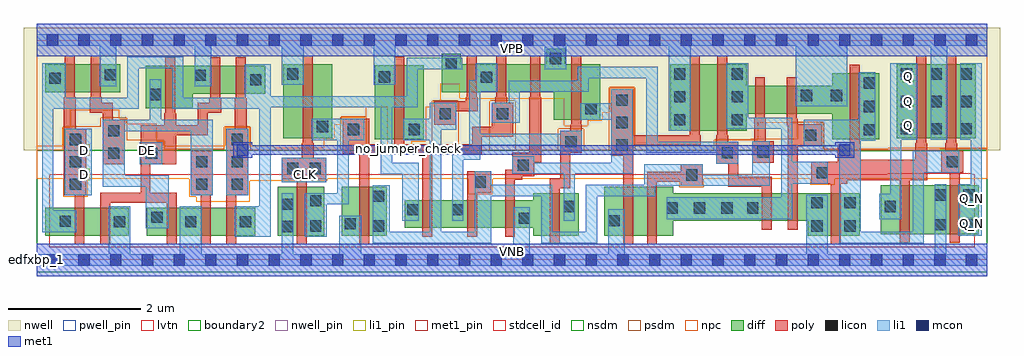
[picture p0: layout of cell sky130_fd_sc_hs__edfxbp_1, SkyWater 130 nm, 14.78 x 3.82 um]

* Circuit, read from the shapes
.subckt sky130_fd_sc_hs__edfxbp_1 CLK D DE Q Q_N VGND VNB VPB VPWR
XM1 n1 D n2 VNB sky130_fd_pr__nfet_01v8_lvt w=0.42 l=0.15
XM2 VGND DE n1 VNB sky130_fd_pr__nfet_01v8_lvt w=0.42 l=0.15
XM3 VGND DE n3 VNB sky130_fd_pr__nfet_01v8_lvt w=0.42 l=0.15
XM4 n4 n3 VGND VNB sky130_fd_pr__nfet_01v8_lvt w=0.42 l=0.15
XM5 n2 n5 n4 VNB sky130_fd_pr__nfet_01v8_lvt w=0.42 l=0.15
XM6 n6 CLK VGND VNB sky130_fd_pr__nfet_01v8_lvt w=0.74 l=0.15
XM7 n7 n6 VGND VNB sky130_fd_pr__nfet_01v8_lvt w=0.74 l=0.15
XM8 n8 n6 n2 VNB sky130_fd_pr__nfet_01v8_lvt w=0.42 l=0.15
XM9 n9 n7 n8 VNB sky130_fd_pr__nfet_01v8_lvt w=0.42 l=0.15
XM10 VGND n10 n9 VNB sky130_fd_pr__nfet_01v8_lvt w=0.42 l=0.15
XM11 n10 n8 VGND VNB sky130_fd_pr__nfet_01v8_lvt w=0.64 l=0.15
XM12 n11 n10 VGND VNB sky130_fd_pr__nfet_01v8_lvt w=0.74 l=0.15
XM13 n12 n7 n11 VNB sky130_fd_pr__nfet_01v8_lvt w=0.74 l=0.15
XM14 n13 n6 n12 VNB sky130_fd_pr__nfet_01v8_lvt w=0.42 l=0.15
XM15 VGND n5 n13 VNB sky130_fd_pr__nfet_01v8_lvt w=0.42 l=0.15
XM16 n5 n12 VGND VNB sky130_fd_pr__nfet_01v8_lvt w=0.64 l=0.15
XM17 VGND n12 Q VNB sky130_fd_pr__nfet_01v8_lvt w=0.74 l=0.15
XM18 Q_N n5 VGND VNB sky130_fd_pr__nfet_01v8_lvt w=0.74 l=0.15
XM19 n14 D n2 VPB sky130_fd_pr__pfet_01v8 w=0.42 l=0.15
XM20 VPWR n3 n14 VPB sky130_fd_pr__pfet_01v8 w=0.42 l=0.15
XM21 VPWR DE n3 VPB sky130_fd_pr__pfet_01v8 w=0.64 l=0.15
XM22 n15 DE VPWR VPB sky130_fd_pr__pfet_01v8 w=0.42 l=0.15
XM23 n2 n5 n15 VPB sky130_fd_pr__pfet_01v8 w=0.42 l=0.15
XM24 n6 CLK VPWR VPB sky130_fd_pr__pfet_01v8 w=1.12 l=0.15
XM25 n7 n6 VPWR VPB sky130_fd_pr__pfet_01v8 w=1.12 l=0.15
XM26 n8 n7 n2 VPB sky130_fd_pr__pfet_01v8 w=0.42 l=0.15
XM27 n16 n6 n8 VPB sky130_fd_pr__pfet_01v8 w=0.42 l=0.15
XM28 VPWR n10 n16 VPB sky130_fd_pr__pfet_01v8 w=0.42 l=0.15
XM29 n10 n8 VPWR VPB sky130_fd_pr__pfet_01v8 w=0.84 l=0.15
XM30 n17 n10 VPWR VPB sky130_fd_pr__pfet_01v8 w=1 l=0.15
XM31 n12 n6 n17 VPB sky130_fd_pr__pfet_01v8 w=1 l=0.15
XM32 n18 n7 n12 VPB sky130_fd_pr__pfet_01v8 w=0.42 l=0.15
XM33 VPWR n5 n18 VPB sky130_fd_pr__pfet_01v8 w=0.42 l=0.15
XM34 n5 n12 VPWR VPB sky130_fd_pr__pfet_01v8 w=1 l=0.15
XM35 VPWR n12 Q VPB sky130_fd_pr__pfet_01v8 w=1.12 l=0.15
XM36 Q_N n5 VPWR VPB sky130_fd_pr__pfet_01v8 w=1.12 l=0.15
.ends

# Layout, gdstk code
import gdstk
lib = gdstk.Library(unit=1e-6, precision=1e-09)
def R(c, l, rs):  # rectangles x0, y0, x1, y1
    for r in rs: c.add(gdstk.rectangle(r[:2], r[2:], *l))
def A(c, l, x, y, w, h, nx, ny, dx, dy):  # array of equal rectangles
    R(c, l, [(x+i*dx, y+j*dy, x+i*dx+w, y+j*dy+h) for i in range(nx) for j in range(ny)])
def P(c, l, *ps):  # polygons
    for p in ps: c.add(gdstk.Polygon(p, *l))
nwell_pin = (64, 16)
nwell = (64, 20)
diff = (65, 20)
poly = (66, 20)
licon = (66, 44)
li1_pin = (67, 16)
li1 = (67, 20)
mcon = (67, 44)
met1_pin = (68, 16)
met1 = (68, 20)
stdcell_id = (81, 4)
nsdm = (93, 44)
psdm = (94, 20)
npc = (95, 20)
pwell_pin = (122, 16)
lvtn = (125, 44)
boundary2 = (236, 0)

sky130_fd_sc_hs__edfxbp_ = lib.new_cell('sky130_fd_sc_hs__edfxbp_1')
R(sky130_fd_sc_hs__edfxbp_, nwell_pin, [(0,3.085,14.4,3.33)])
P(sky130_fd_sc_hs__edfxbp_, nwell, [(14.59,3.52),(-0.19,3.52),(-0.19,1.66),(4.945,1.66),(4.945,1.65),(6.045,1.65),(6.045,1.66),(11.87,1.66),(11.87,1.645),(12.94,1.645),(12.94,1.66),(14.59,1.66)])
R(sky130_fd_sc_hs__edfxbp_, diff, [(0.135,0.37,1.4,0.79), (1.67,0.37,3.31,0.79), (3.655,0.37,4.355,1.11), (4.625,0.37,5.305,1.11), (12.785,0.39,14.265,1.13), (5.125,1.83,5.865,2.95), (3.735,1.84,4.475,2.96), (13.03,1.84,14.22,2.96), (0.135,2.54,1.265,2.96)])
P(sky130_fd_sc_hs__edfxbp_, diff, [(3.465,2.94),(1.655,2.94),(1.655,2.3),(2.365,2.3),(2.365,2.52),(3.465,2.52)],
  [(8.21,1.01),(7.525,1.01),(7.525,0.905),(5.575,0.905),(5.575,0.485),(7.525,0.485),(7.525,0.37),(8.21,0.37)],
  [(8.54,2.96),(8.005,2.96),(8.005,3.195),(7.715,3.195),(7.715,2.96),(6.425,2.96),(6.425,3.12),(6.135,3.12),(6.135,2.54),(7.83,2.54),(7.83,2.12),(8.54,2.12)],
  [(12.465,1.01),(9.645,1.01),(9.645,1.11),(8.6,1.11),(8.6,0.37),(9.645,0.37),(9.645,0.59),(11.675,0.59),(11.675,0.37),(12.465,0.37)],
  [(12.76,2.825),(12.05,2.825),(12.05,2.635),(10.755,2.635),(10.755,2.96),(9.595,2.96),(9.595,1.96),(10.755,1.96),(10.755,2.215),(12.05,2.215),(12.05,1.825),(12.76,1.825)])
P(sky130_fd_sc_hs__edfxbp_, poly, [(14.03,1.65),(13.94,1.65),(13.94,1.765),(13.925,1.765),(13.925,3.09),(13.775,3.09),(13.775,1.765),(13.76,1.765),(13.76,1.65),(13.7,1.65),(13.7,1.32),(13.83,1.32),(13.83,0.26),(13.98,0.26),(13.98,1.32),(14.03,1.32)],
  [(13.49,1.765),(13.475,1.765),(13.475,3.09),(13.325,3.09),(13.325,1.765),(13.31,1.765),(13.31,1.515),(12.48,1.515),(12.48,1.75),(12.465,1.75),(12.465,2.955),(12.315,2.955),(12.315,1.75),(12.3,1.75),(12.3,1.745),(12.13,1.745),(12.13,1.485),(11.735,1.485),(11.735,1.155),(12.03,1.155),(12.03,0.24),(12.18,0.24),(12.18,1.155),(12.28,1.155),(12.28,1.205),(13.07,1.205),(13.07,0.26),(13.22,0.26),(13.22,1.205),(13.49,1.205)],
  [(11.89,2.055),(11.525,2.055),(11.525,2.14),(11.51,2.14),(11.51,2.765),(11.36,2.765),(11.36,2.04),(11.375,2.04),(11.375,0.46),(11.525,0.46),(11.525,1.725),(11.89,1.725)],
  [(11.165,1.8),(11.045,1.8),(11.045,2.14),(11.03,2.14),(11.03,2.765),(10.88,2.765),(10.88,2.14),(10.865,2.14),(10.865,1.8),(10.835,1.8),(10.835,1.47),(11.165,1.47)],
  [(11.135,1.26),(10.625,1.26),(10.625,1.79),(10.475,1.79),(10.475,1.885),(10.46,1.885),(10.46,3.09),(10.31,3.09),(10.31,1.885),(10.295,1.885),(10.295,1.46),(10.475,1.46),(10.475,1.11),(10.985,1.11),(10.985,0.46),(11.135,0.46)],
  [(10.085,1.45),(9.755,1.45),(9.755,1.335),(9.245,1.335),(9.245,0.24),(9.395,0.24),(9.395,1.185),(9.755,1.185),(9.755,1.12),(10.085,1.12)],
  [(10.055,1.885),(10.04,1.885),(10.04,3.09),(9.89,3.09),(9.89,1.885),(9.035,1.885),(9.035,2.585),(8.7,2.585),(8.7,1.575),(8.885,1.575),(8.885,0.24),(9.035,0.24),(9.035,1.735),(10.055,1.735)],
  [(8.26,2.045),(8.245,2.045),(8.245,3.09),(8.095,3.09),(8.095,2.045),(8.08,2.045),(8.08,1.955),(7.93,1.955),(7.93,1.235),(7.775,1.235),(7.775,0.24),(7.925,0.24),(7.925,1.085),(8.08,1.085),(8.08,1.625),(8.26,1.625)],
  [(7.64,2.465),(7.625,2.465),(7.625,3.09),(7.475,3.09),(7.475,2.465),(7.46,2.465),(7.46,1.625),(7.205,1.625),(7.205,1.365),(7.095,1.365),(7.095,0.355),(7.245,0.355),(7.245,1.215),(7.355,1.215),(7.355,1.27),(7.535,1.27),(7.535,1.475),(7.64,1.475)],
  [(7.22,2.38),(7.13,2.38),(7.13,2.465),(7.115,2.465),(7.115,3.09),(6.965,3.09),(6.965,2.465),(6.95,2.465),(6.95,2.38),(6.89,2.38),(6.89,2.015),(6.595,2.015),(6.595,1.755),(5.57,1.755),(5.57,3.08),(5.42,3.08),(5.42,1.755),(5.04,1.755),(5.04,2.14),(4.635,2.14),(4.635,1.605),(4.89,1.605),(4.89,0.24),(5.04,0.24),(5.04,1.605),(5.84,1.605),(5.84,0.355),(5.99,0.355),(5.99,1.605),(6.745,1.605),(6.745,1.865),(7.22,1.865)],
  [(6.885,1.345),(6.52,1.345),(6.52,0.355),(6.67,0.355),(6.67,1.015),(6.885,1.015)],
  [(6.68,2.465),(6.665,2.465),(6.665,3.09),(6.515,3.09),(6.515,2.465),(6.5,2.465),(6.5,2.405),(6.025,2.405),(6.025,2.05),(6.355,2.05),(6.355,2.255),(6.68,2.255)],
  [(4.385,1.55),(4.195,1.55),(4.195,1.765),(4.18,1.765),(4.18,3.09),(4.03,3.09),(4.03,1.765),(4.015,1.765),(4.015,1.55),(3.715,1.55),(3.715,1.22),(3.94,1.22),(3.94,0.24),(4.09,0.24),(4.09,1.22),(4.385,1.22)],
  [(3.205,1.99),(3.185,1.99),(3.185,2.445),(3.17,2.445),(3.17,3.07),(3.02,3.07),(3.02,2.445),(3.005,2.445),(3.005,1.99),(2.875,1.99),(2.875,0.24),(3.025,0.24),(3.025,0.98),(3.205,0.98)],
  [(2.795,2.445),(2.78,2.445),(2.78,3.07),(2.63,3.07),(2.63,2.445),(2.615,2.445),(2.615,2.38),(2.44,2.38),(2.44,2.04),(2.115,2.04),(2.115,2.225),(2.1,2.225),(2.1,3.07),(1.95,3.07),(1.95,2.225),(1.935,2.225),(1.935,2.04),(1.575,2.04),(1.575,1.015),(0.965,1.015),(0.965,0.24),(1.115,0.24),(1.115,0.865),(1.975,0.865),(1.975,0.24),(2.125,0.24),(2.125,1.015),(1.725,1.015),(1.725,1.45),(2.115,1.45),(2.115,1.89),(2.59,1.89),(2.59,2.23),(2.795,2.23)],
  [(2.665,1.65),(2.335,1.65),(2.335,0.98),(2.485,0.98),(2.485,0.24),(2.635,0.24),(2.635,0.98),(2.665,0.98)],
  [(1.335,2.12),(1.155,2.12),(1.155,2.38),(0.985,2.38),(0.985,2.465),(0.97,2.465),(0.97,3.09),(0.82,3.09),(0.82,2.465),(0.805,2.465),(0.805,2.23),(1.005,2.23),(1.005,1.45),(1.335,1.45)],
  [(0.755,1.99),(0.595,1.99),(0.595,2.465),(0.58,2.465),(0.58,3.09),(0.43,3.09),(0.43,2.465),(0.415,2.465),(0.415,0.98),(0.575,0.98),(0.575,0.24),(0.725,0.24),(0.725,0.98),(0.755,0.98)])
A(sky130_fd_sc_hs__edfxbp_, licon, 9.54, 0.7, 0.17, 0.17, 3, 1, 0.415, 0)
A(sky130_fd_sc_hs__edfxbp_, licon, 0.505, 1.06, 0.17, 0.17, 1, 3, 0, 0.34)
A(sky130_fd_sc_hs__edfxbp_, licon, 2.955, 1.06, 0.17, 0.17, 1, 3, 0, 0.34)
A(sky130_fd_sc_hs__edfxbp_, licon, 8.78, 1.655, 0.17, 0.17, 1, 3, 0, 0.34)
A(sky130_fd_sc_hs__edfxbp_, licon, 12.53, 1.885, 0.17, 0.17, 1, 3, 0, 0.355)
A(sky130_fd_sc_hs__edfxbp_, licon, 13.09, 1.9, 0.17, 0.17, 3, 3, 0.45, 0.415)
A(sky130_fd_sc_hs__edfxbp_, licon, 9.655, 2.04, 0.17, 0.17, 1, 3, 0, 0.345)
A(sky130_fd_sc_hs__edfxbp_, licon, 10.525, 2.04, 0.17, 0.17, 1, 3, 0, 0.345)
R(sky130_fd_sc_hs__edfxbp_, licon, [(3.715,0.42,3.885,0.59), (4.145,0.43,4.315,0.6), (5.095,0.43,5.265,0.6), (11.735,0.43,11.905,0.6), (12.235,0.43,12.405,0.6), (13.605,0.45,13.775,0.62), (14.035,0.45,14.205,0.62), (4.665,0.465,4.835,0.635), (1.17,0.495,1.34,0.665), (2.25,0.495,2.42,0.665), (3.08,0.495,3.25,0.665), (0.35,0.5,0.52,0.67), (8.66,0.51,8.83,0.68), (7.3,0.545,7.47,0.715), (1.74,0.56,1.91,0.73), (5.615,0.675,5.785,0.845), (6.295,0.675,6.465,0.845), (10.76,0.7,10.93,0.87), (7.98,0.725,8.15,0.895), (12.845,0.725,13.015,0.895), (3.715,0.76,3.885,0.93), (11.735,0.78,11.905,0.95), (12.235,0.78,12.405,0.95), (4.145,0.81,4.315,0.98), (5.095,0.88,5.265,1.05), (13.605,0.9,13.775,1.07), (14.035,0.9,14.205,1.07), (2.415,1.06,2.585,1.23), (6.635,1.095,6.805,1.265), (9.835,1.2,10.005,1.37), (11.815,1.235,11.985,1.405), (3.795,1.3,3.965,1.47), (4.135,1.3,4.305,1.47), (7.285,1.35,7.455,1.52), (2.415,1.4,2.585,1.57), (13.78,1.4,13.95,1.57), (1.085,1.53,1.255,1.7), (1.655,1.53,1.825,1.7), (10.375,1.54,10.545,1.71), (10.915,1.55,11.085,1.72), (8.01,1.705,8.18,1.875), (11.64,1.805,11.81,1.975), (1.085,1.87,1.255,2.04), (4.715,1.89,4.885,2.06), (5.635,1.89,5.805,2.06), (4.245,1.935,4.415,2.105), (6.105,2.13,6.275,2.3), (6.97,2.13,7.14,2.3), (8.31,2.205,8.48,2.375), (11.575,2.405,11.745,2.575), (12.03,2.405,12.2,2.575), (1.715,2.42,1.885,2.59), (3.235,2.645,3.405,2.815), (0.195,2.665,0.365,2.835), (6.73,2.68,6.9,2.85), (5.185,2.685,5.355,2.855), (2.395,2.71,2.565,2.88), (1.035,2.72,1.205,2.89), (3.795,2.73,3.965,2.9), (6.195,2.89,6.365,3.06), (7.775,2.965,7.945,3.135)])
A(sky130_fd_sc_hs__edfxbp_, li1_pin, 13.115, 1.95, 0.17, 0.17, 1, 3, 0, 0.37)
R(sky130_fd_sc_hs__edfxbp_, li1_pin, [(14.075,0.47,14.245,0.64), (14.075,0.84,14.245,1.01), (0.635,1.21,0.805,1.38), (3.995,1.21,4.165,1.38), (0.635,1.58,0.805,1.75), (1.595,1.58,1.765,1.75)])
R(sky130_fd_sc_hs__edfxbp_, li1, [(0.425,0.98,0.835,1.99), (2.875,0.98,3.205,1.99), (3.715,1.18,4.385,1.55), (1.565,1.45,1.905,1.78)])
P(sky130_fd_sc_hs__edfxbp_, li1, [(0,3.245),(0,3.415),(14.4,3.415),(14.4,3.245),(13.79,3.245),(13.79,1.82),(13.54,1.82),(13.54,3.245),(12.28,3.245),(12.28,2.325),(11.495,2.325),(11.495,3.245),(9.905,3.245),(9.905,1.96),(9.575,1.96),(9.575,3.245),(8.025,3.245),(8.025,2.885),(7.695,2.885),(7.695,3.245),(5.435,3.245),(5.435,2.65),(5.105,2.65),(5.105,3.245),(4.045,3.245),(4.045,2.65),(3.715,2.65),(3.715,3.245),(2.645,3.245),(2.645,2.63),(2.395,2.63),(2.395,3.245),(1.205,3.245),(1.205,2.63),(0.955,2.63),(0.955,3.245)],
  [(0,-0.085),(0,0.085),(1.09,0.085),(1.09,0.81),(1.42,0.81),(1.42,0.085),(2.17,0.085),(2.17,0.81),(2.5,0.81),(2.5,0.085),(3.715,0.085),(3.715,1.01),(3.885,1.01),(3.885,0.085),(4.585,0.085),(4.585,0.67),(4.915,0.67),(4.915,0.085),(7.22,0.085),(7.22,0.795),(7.47,0.795),(7.47,0.085),(8.66,0.085),(8.66,0.77),(8.91,0.77),(8.91,0.085),(11.655,0.085),(11.655,0.985),(11.985,0.985),(11.985,0.085),(13.605,0.085),(13.605,1.15),(13.775,1.15),(13.775,0.085),(14.4,0.085),(14.4,-0.085)],
  [(12.925,2.98),(13.34,2.98),(13.34,1.82),(13.095,1.82),(13.095,0.62),(12.765,0.62),(12.765,1),(12.925,1)],
  [(13.955,0.37),(13.955,1.15),(14.145,1.15),(14.145,1.82),(13.99,1.82),(13.99,2.98),(14.315,2.98),(14.315,0.37)],
  [(12.155,1.725),(11.615,1.725),(11.615,2.12),(12.45,2.12),(12.45,2.845),(12.7,2.845),(12.7,1.805),(12.485,1.805),(12.485,0.425),(13.265,0.425),(13.265,1.65),(13.975,1.65),(13.975,1.32),(13.435,1.32),(13.435,0.255),(12.155,0.255)],
  [(6.55,1.685),(6.55,2.72),(6.65,2.72),(6.65,2.98),(6.98,2.98),(6.98,2.55),(6.72,2.55),(6.72,1.91),(7.93,1.91),(7.93,1.955),(8.26,1.955),(8.26,1.645),(7.93,1.645),(7.93,1.74),(6.72,1.74),(6.72,1.515),(6.465,1.515),(6.465,0.595),(6.295,0.595),(6.295,1.685)],
  [(4.555,1.01),(4.555,1.81),(4.165,1.81),(4.165,2.14),(4.965,2.14),(4.965,1.81),(4.725,1.81),(4.725,0.84),(4.395,0.84),(4.395,0.35),(4.065,0.35),(4.065,1.01)],
  [(3.375,0.81),(3.375,2.29),(2.055,2.29),(2.055,2.905),(1.545,2.905),(1.545,2.29),(0.255,2.29),(0.255,0.75),(0.6,0.75),(0.6,0.42),(0.085,0.42),(0.085,2.98),(0.445,2.98),(0.445,2.46),(1.375,2.46),(1.375,3.075),(2.225,3.075),(2.225,2.46),(3.155,2.46),(3.155,2.96),(3.545,2.96),(3.545,2.48),(5.605,2.48),(5.605,3.06),(6.445,3.06),(6.445,2.89),(5.775,2.89),(5.775,2.31),(5.385,2.31),(5.385,1.47),(5.785,1.47),(5.785,0.595),(5.535,0.595),(5.535,1.3),(5.215,1.3),(5.215,2.31),(3.545,2.31),(3.545,0.35),(3,0.35),(3,0.81)],
  [(5.345,0.425),(5.955,0.425),(5.955,1.81),(5.555,1.81),(5.555,2.14),(5.955,2.14),(5.955,2.38),(6.355,2.38),(6.355,1.97),(6.125,1.97),(6.125,0.425),(6.635,0.425),(6.635,1.345),(6.885,1.345),(6.885,1.135),(7.81,1.135),(7.81,0.425),(8.32,0.425),(8.32,1.135),(9.2,1.135),(9.2,1.45),(10.085,1.45),(10.085,1.29),(10.835,1.29),(10.835,1.8),(11.105,1.8),(11.105,1.12),(9.37,1.12),(9.37,0.965),(8.49,0.965),(8.49,0.255),(7.64,0.255),(7.64,0.965),(6.885,0.965),(6.885,0.255),(5.095,0.255),(5.095,1.13),(5.345,1.13)],
  [(7.535,1.475),(8.7,1.475),(8.7,2.125),(8.23,2.125),(8.23,2.375),(8.7,2.375),(8.7,2.585),(9.03,2.585),(9.03,1.305),(8.15,1.305),(8.15,0.595),(7.98,0.595),(7.98,1.305),(7.205,1.305),(7.205,1.57),(7.535,1.57)],
  [(10.445,1.985),(10.445,2.98),(10.775,2.98),(10.775,2.155),(11.445,2.155),(11.445,1.485),(11.985,1.485),(11.985,1.155),(11.445,1.155),(11.445,0.62),(9.54,0.62),(9.54,0.95),(11.275,0.95),(11.275,1.985)],
  [(1.335,1.28),(2,1.28),(2,0.48),(1.65,0.48),(1.65,1.11),(1.005,1.11),(1.005,2.12),(1.715,2.12),(1.715,2.735),(1.885,2.735),(1.885,2.12),(2.665,2.12),(2.665,0.98),(2.335,0.98),(2.335,1.95),(1.335,1.95)],
  [(7.15,2.715),(8.195,2.715),(8.195,2.925),(9.405,2.925),(9.405,1.79),(10.625,1.79),(10.625,1.46),(10.295,1.46),(10.295,1.62),(9.235,1.62),(9.235,2.755),(8.365,2.755),(8.365,2.545),(7.32,2.545),(7.32,2.08),(6.89,2.08),(6.89,2.38),(7.15,2.38)])
A(sky130_fd_sc_hs__edfxbp_, mcon, 0.155, -0.085, 0.17, 0.17, 30, 2, 0.48, 3.33)
R(sky130_fd_sc_hs__edfxbp_, mcon, [(3.035,1.58,3.205,1.75), (12.155,1.58,12.325,1.75)])
R(sky130_fd_sc_hs__edfxbp_, met1_pin, [(0,0,14.4,0.245), (0,3.085,14.4,3.33)])
R(sky130_fd_sc_hs__edfxbp_, met1, [(0,-0.245,14.4,0.245), (0,3.085,14.4,3.575)])
P(sky130_fd_sc_hs__edfxbp_, met1, [(3.265,1.735),(12.095,1.735),(12.095,1.78),(12.385,1.78),(12.385,1.55),(12.095,1.55),(12.095,1.595),(3.265,1.595),(3.265,1.55),(2.975,1.55),(2.975,1.78),(3.265,1.78)])
R(sky130_fd_sc_hs__edfxbp_, stdcell_id, [(0,0,14.4,3.33)])
R(sky130_fd_sc_hs__edfxbp_, nsdm, [(0,-0.19,14.4,1.66)])
P(sky130_fd_sc_hs__edfxbp_, psdm, [(14.4,3.52),(0,3.52),(0,1.66),(0.395,1.66),(0.395,2.02),(0.975,2.02),(0.975,2.15),(1.365,2.15),(1.365,1.81),(1.935,1.81),(1.935,1.68),(2.845,1.68),(2.845,2.02),(3.235,2.02),(3.235,1.66),(4.605,1.66),(4.605,2.17),(4.995,2.17),(4.995,1.66),(5.995,1.66),(5.995,2.41),(6.385,2.41),(6.385,1.66),(6.86,1.66),(6.86,2.41),(7.25,2.41),(7.25,1.66),(7.9,1.66),(7.9,1.985),(8.29,1.985),(8.29,1.66),(8.67,1.66),(8.67,2.615),(9.06,2.615),(9.06,1.66),(10.265,1.66),(10.265,1.82),(10.805,1.82),(10.805,1.83),(11.53,1.83),(11.53,2.085),(11.92,2.085),(11.92,1.66),(13.67,1.66),(13.67,1.68),(14.4,1.68)])
P(sky130_fd_sc_hs__edfxbp_, npc, [(14.4,1.7),(12.9,1.7),(12.9,1.685),(11.91,1.685),(11.91,2.075),(11.805,2.075),(11.805,2.085),(10.92,2.085),(10.92,1.82),(10.275,1.82),(10.275,1.73),(9.05,1.73),(9.05,2.605),(8.68,2.605),(8.68,2.24),(8.57,2.24),(8.57,2.115),(8.35,2.115),(8.35,2.03),(7.99,2.03),(7.99,2.45),(6.41,2.45),(6.41,2.665),(6.11,2.665),(6.11,2.4),(6.005,2.4),(6.005,2.32),(5.895,2.32),(5.895,1.8),(5.675,1.8),(5.675,1.74),(5.315,1.74),(5.315,2.32),(4.985,2.32),(4.985,2.16),(4.615,2.16),(4.615,2.055),(4.505,2.055),(4.505,1.845),(4.35,1.845),(4.35,1.7),(3.595,1.7),(3.595,1.73),(3.225,1.73),(3.225,2.01),(2.855,2.01),(2.855,1.73),(1.925,1.73),(1.925,1.8),(1.82,1.8),(1.82,2.065),(1.355,2.065),(1.355,2.14),(1.25,2.14),(1.25,2.275),(0.51,2.275),(0.51,2.01),(0.405,2.01),(0.405,1.73),(0,1.73),(0,1.23),(0.405,1.23),(0.405,0.96),(0.775,0.96),(0.775,1.23),(2.315,1.23),(2.315,0.96),(2.42,0.96),(2.42,0.88),(3.23,0.88),(3.23,1.2),(4.405,1.2),(4.405,1.23),(6.535,1.23),(6.535,0.995),(6.905,0.995),(6.905,1.23),(9.735,1.23),(9.735,1.1),(10.105,1.1),(10.105,1.23),(11.715,1.23),(11.715,1.135),(12.085,1.135),(12.085,1.23),(14.4,1.23)])
R(sky130_fd_sc_hs__edfxbp_, pwell_pin, [(0,0,14.4,0.245)])
P(sky130_fd_sc_hs__edfxbp_, lvtn, [(14.21,1.3),(14.16,1.3),(14.16,1.31),(12.89,1.31),(12.89,1.3),(0.19,1.3),(0.19,0.19),(14.21,0.19)])
R(sky130_fd_sc_hs__edfxbp_, boundary2, [(0,0,14.4,3.33)])
sky130_fd_sc_hs__edfxbp_.add(gdstk.Label('no_jumper_check', (5.63,1.69), layer=83, texttype=44))
sky130_fd_sc_hs__edfxbp_.add(gdstk.Label('edfxbp_1', (0,0), layer=83, texttype=44))
sky130_fd_sc_hs__edfxbp_.add(gdstk.Label('VNB', (7.2,0.123), layer=64, texttype=59))
sky130_fd_sc_hs__edfxbp_.add(gdstk.Label('VPB', (7.2,3.208), layer=64, texttype=5))
sky130_fd_sc_hs__edfxbp_.add(gdstk.Label('VPWR', (7.2,3.208), layer=68, texttype=5))
sky130_fd_sc_hs__edfxbp_.add(gdstk.Label('VGND', (7.2,0.123), layer=68, texttype=5))
sky130_fd_sc_hs__edfxbp_.add(gdstk.Label('CLK', (4.08,1.295), layer=67, texttype=5))
sky130_fd_sc_hs__edfxbp_.add(gdstk.Label('Q', (13.2,2.035), layer=67, texttype=5))
sky130_fd_sc_hs__edfxbp_.add(gdstk.Label('Q', (13.2,2.405), layer=67, texttype=5))
sky130_fd_sc_hs__edfxbp_.add(gdstk.Label('Q', (13.2,2.775), layer=67, texttype=5))
sky130_fd_sc_hs__edfxbp_.add(gdstk.Label('D', (0.72,1.295), layer=67, texttype=5))
sky130_fd_sc_hs__edfxbp_.add(gdstk.Label('D', (0.72,1.665), layer=67, texttype=5))
sky130_fd_sc_hs__edfxbp_.add(gdstk.Label('DE', (1.68,1.665), layer=67, texttype=5))
sky130_fd_sc_hs__edfxbp_.add(gdstk.Label('Q_N', (14.16,0.555), layer=67, texttype=5))
sky130_fd_sc_hs__edfxbp_.add(gdstk.Label('Q_N', (14.16,0.925), layer=67, texttype=5))

lib.write_gds('sky130_fd_sc_hs__edfxbp_1.gds')
